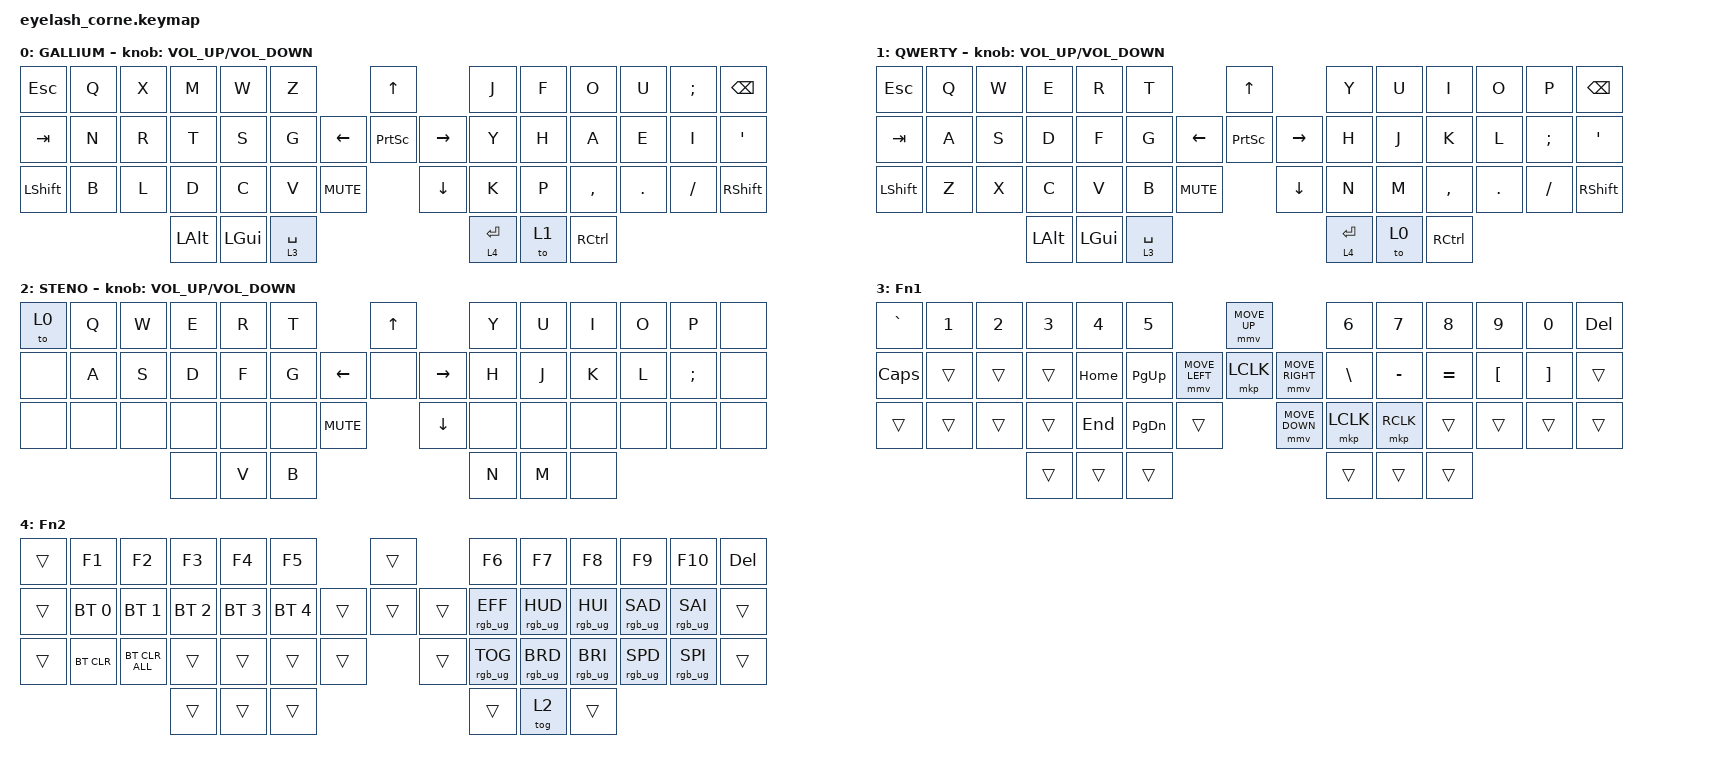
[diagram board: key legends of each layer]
#define ZMK_POINTING_DEFAULT_MOVE_VAL 1200  // 600
#define ZMK_POINTING_DEFAULT_SCRL_VAL 25   // 10

#include <input/processors.dtsi>
#include <zephyr/dt-bindings/input/input-event-codes.h>
#include <behaviors.dtsi>
#include <dt-bindings/zmk/bt.h>
#include <dt-bindings/zmk/keys.h>
#include <dt-bindings/zmk/pointing.h>
#include <dt-bindings/zmk/rgb.h>

&mmv_input_listener { input-processors = <&zip_xy_scaler 2 1>; };

&msc_input_listener { input-processors = <&zip_scroll_scaler 2 1>; };

&msc {
    acceleration-exponent = <1>;      // 0
    time-to-max-speed-ms = <100>;       // 300
    delay-ms = <0>;                   // 0
};

&mmv {
    time-to-max-speed-ms = <500>;
    acceleration-exponent = <1>;
    trigger-period-ms = <16>;
};

&soft_off { hold-time-ms = <2000>; };

/ {
    behaviors {
        td0: td0 {
            compatible = "zmk,behavior-tap-dance";
            display-name = "Shift/Caps Lock Tap Dance";
            #binding-cells = <0>;
            bindings = <&kp LEFT_SHIFT>, <&kp CAPS>;
        };
    };

    rgb_encoder: rgb_encoder {
        compatible = "zmk,behavior-sensor-rotate";
        #sensor-binding-cells = <0>;
        bindings = <&rgb_ug RGB_BRI>, <&rgb_ug RGB_BRD>;
    };

    scroll_encoder: scroll_encoder {
        compatible = "zmk,behavior-sensor-rotate";
        #sensor-binding-cells = <0>;
        bindings = <&msc SCRL_DOWN>, <&msc SCRL_UP>;

        tap-ms = <100>;
    };

    combos {
        compatible = "zmk,combos";

        softoff {
            bindings = <&soft_off>;
            key-positions = <1 15 29>;
        };
    };

    keymap {
        compatible = "zmk,keymap";

        GALLIUM {
            bindings = <
&kp ESC    &kp Q  &kp X  &kp M     &kp W     &kp Z                                      &kp UP_ARROW                      &kp J        &kp F  &kp O      &kp U    &kp SEMI  &kp BSPC
&kp TAB    &kp N  &kp R  &kp T     &kp S     &kp G                      &kp LEFT_ARROW  &kp PRINTSCREEN  &kp RIGHT_ARROW  &kp Y        &kp H  &kp A      &kp E    &kp I     &kp APOS
&kp LSHFT  &kp B  &kp L  &kp D     &kp C     &kp V        &kp K_MUTE                    &kp DOWN_ARROW                    &kp K        &kp P  &kp COMMA  &kp DOT  &kp FSLH  &kp RSHFT
                         &kp LALT  &kp LGUI  &lt 3 SPACE                                                                  &lt 4 ENTER  &to 1  &kp RCTRL
            >;

            label = "GALLIUM";
            sensor-bindings = <&inc_dec_kp C_VOLUME_UP C_VOLUME_DOWN>;
        };

        QWERTY {
            display-name = "QWERTY";
            bindings = <
&kp ESCAPE  &kp Q  &kp W  &kp E     &kp R     &kp T                                &kp UP                      &kp Y        &kp U  &kp I      &kp O    &kp P     &kp BSPC
&kp TAB     &kp A  &kp S  &kp D     &kp F     &kp G                      &kp LEFT  &kp PRINTSCREEN  &kp RIGHT  &kp H        &kp J  &kp K      &kp L    &kp SEMI  &kp SQT
&kp LSHFT   &kp Z  &kp X  &kp C     &kp V     &kp B        &kp C_MUTE              &kp DOWN                    &kp N        &kp M  &kp COMMA  &kp DOT  &kp FSLH  &kp RSHFT
                          &kp LALT  &kp LGUI  &lt 3 SPACE                                                      &lt 4 ENTER  &to 0  &kp RCTRL
            >;

            sensor-bindings = <&inc_dec_kp C_VOLUME_UP C_VOLUME_DOWN>;
        };

        STENOGRAPHY {
            bindings = <
&to 0  &kp Q  &kp W  &kp E  &kp R  &kp T                          &kp UP               &kp Y  &kp U  &kp I  &kp O  &kp P     &none
&none  &kp A  &kp S  &kp D  &kp F  &kp G                &kp LEFT  &none     &kp RIGHT  &kp H  &kp J  &kp K  &kp L  &kp SEMI  &none
&none  &none  &none  &none  &none  &none  &kp C_MUTE              &kp DOWN             &none  &none  &none  &none  &none     &none
                     &none  &kp V  &kp B                                               &kp N  &kp M  &none
            >;

            label = "STENO";
            sensor-bindings = <&inc_dec_kp C_VOLUME_UP C_VOLUME_DOWN>;
        };

        Fn1 {
            display-name = "Fn1";
            bindings = <
&kp GRAVE     &kp NUMBER_1  &kp NUMBER_2  &kp NUMBER_3  &kp NUMBER_4  &kp NUMBER_5                             &mmv MOVE_UP                     &kp NUMBER_6  &kp NUMBER_7  &kp NUMBER_8  &kp NUMBER_9      &kp NUMBER_0  &kp DELETE
&kp CAPSLOCK  &trans        &trans        &trans        &kp HOME      &kp PAGE_UP              &mmv MOVE_LEFT  &mkp LCLK       &mmv MOVE_RIGHT  &kp BSLH      &kp MINUS     &kp EQUAL     &kp LEFT_BRACKET  &kp RBKT      &trans
&trans        &trans        &trans        &trans        &kp END       &kp PAGE_DOWN  &trans                    &mmv MOVE_DOWN                   &mkp LCLK     &mkp RCLK     &trans        &trans            &trans        &trans
                                          &trans        &trans        &trans                                                                    &trans        &trans        &trans
            >;
        };

        Fn2 {
            bindings = <
&trans  &kp F1        &kp F2          &kp F3        &kp F4        &kp F5                          &trans          &kp F6           &kp F7           &kp F8           &kp F9           &kp F10          &kp DELETE
&trans  &bt BT_SEL 0  &bt BT_SEL 1    &bt BT_SEL 2  &bt BT_SEL 3  &bt BT_SEL 4            &trans  &trans  &trans  &rgb_ug RGB_EFF  &rgb_ug RGB_HUD  &rgb_ug RGB_HUI  &rgb_ug RGB_SAD  &rgb_ug RGB_SAI  &trans
&trans  &bt BT_CLR    &bt BT_CLR_ALL  &trans        &trans        &trans        &trans            &trans          &rgb_ug RGB_TOG  &rgb_ug RGB_BRD  &rgb_ug RGB_BRI  &rgb_ug RGB_SPD  &rgb_ug RGB_SPI  &trans
                                      &trans        &trans        &trans                                          &trans           &tog 2           &trans
            >;

            label = "Fn2";
        };
    };
};
